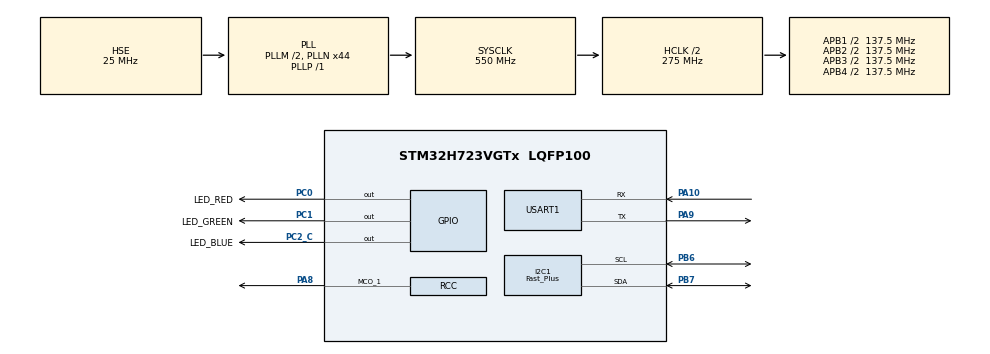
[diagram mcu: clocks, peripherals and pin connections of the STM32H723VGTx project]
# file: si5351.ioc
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I2C1.CustomTiming=Disabled
I2C1.I2C_Speed_Mode=I2C_Fast_Plus
I2C1.Speed=100
I2C1.Timing=0x600003BD
Mcu.Family=STM32H7
Mcu.Name=STM32H723VGTx
Mcu.Package=LQFP100
NVIC.PriorityGroup=NVIC_PRIORITYGROUP_4
PA10.Mode=Asynchronous
PA10.Signal=USART1_RX
PA8.Mode=Clock-out-1
PA8.Signal=RCC_MCO_1
PA9.Mode=Asynchronous
PA9.Signal=USART1_TX
PB6.Mode=I2C
PB6.Signal=I2C1_SCL
PB7.Mode=I2C
PB7.Signal=I2C1_SDA
PC0.GPIO_Label=LED_RED
PC0.Signal=GPIO_Output
PC1.GPIO_Label=LED_GREEN
PC1.Signal=GPIO_Output
PC14-OSC32_IN.Mode=LSE-External-Oscillator
PC14-OSC32_IN.Signal=RCC_OSC32_IN
PC15-OSC32_OUT.Mode=LSE-External-Oscillator
PC15-OSC32_OUT.Signal=RCC_OSC32_OUT
PC2_C.GPIO_Label=LED_BLUE
PC2_C.Signal=GPIO_Output
PH0-OSC_IN.Mode=HSE-External-Oscillator
PH0-OSC_IN.Signal=RCC_OSC_IN
PH1-OSC_OUT.Mode=HSE-External-Oscillator
PH1-OSC_OUT.Signal=RCC_OSC_OUT
ProjectManager.HeapSize=0x200
ProjectManager.StackSize=0x400
ProjectManager.TargetToolchain=Makefile
RCC.ADCFreq_Value=50390625
RCC.APB1Freq_Value=137500000
RCC.APB2Freq_Value=137500000
RCC.APB3Freq_Value=137500000
RCC.APB4Freq_Value=137500000
RCC.CortexFreq_Value=550000000
RCC.D1PPRE=RCC_APB3_DIV2
RCC.D2PPRE1=RCC_APB1_DIV2
RCC.D2PPRE2=RCC_APB2_DIV2
RCC.D3PPRE=RCC_APB4_DIV2
RCC.DIVM1=2
RCC.DIVN1=44
RCC.DIVP1=1
RCC.DIVQ1=10
RCC.EnbaleCSS=true
RCC.HCLKFreq_Value=275000000
RCC.HPRE=RCC_HCLK_DIV2
RCC.PLLFRACN=0
RCC.PLLSourceVirtual=RCC_PLLSOURCE_HSE
RCC.RCC_MCO1Source=RCC_MCO1SOURCE_PLL1QCLK
RCC.SYSCLKFreq_VALUE=550000000
RCC.SYSCLKSource=RCC_SYSCLKSOURCE_PLLCLK
RCC.USBFreq_Value=55000000
TIM1.Period=9999
TIM1.Prescaler=27499
USART1.VirtualMode-Asynchronous=VM_ASYNC
VP_TIM1_VS_ClockSourceINT.Mode=Internal
board=custom

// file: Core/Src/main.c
/* USER CODE BEGIN Header */
/**
 ******************************************************************************
 * @file           : main.c
 * @brief          : Main program body
 ******************************************************************************
 * @attention
 *
 * Copyright (c) 2023 STMicroelectronics.
 * All rights reserved.
 *
 * This software is licensed under terms that can be found in the LICENSE file
 * in the root directory of this software component.
 * If no LICENSE file comes with this software, it is provided AS-IS.
 *
 ******************************************************************************
 */
/* USER CODE END Header */
#include "main.h"
#include "i2c.h"
#include "tim.h"
#include "usart.h"
#include "gpio.h"

void SystemClock_Config(void);

/* USER CODE BEGIN 0 */
int _write(int file, char *ptr, int len)
{
  HAL_UART_Transmit(&huart1, (const uint8_t *)ptr, len, HAL_MAX_DELAY);

  return len;
}
/* USER CODE END 0 */

int main(void)
{

  /* MCU Configuration--------------------------------------------------------*/

  /* Reset of all peripherals, Initializes the Flash interface and the Systick. */
  HAL_Init();

  /* Configure the system clock */
  SystemClock_Config();

  /* Initialize all configured peripherals */
  MX_GPIO_Init();
  MX_I2C1_Init();
  MX_TIM1_Init();
  MX_USART1_UART_Init();
  /* USER CODE BEGIN 2 */

  printf("Hello.\n");

  Si5351_ConfigTypeDef Si5351_ConfigStruct;

  Si5351_StructInit(&Si5351_ConfigStruct, &hi2c1);
  Si5351_ConfigStruct.OSC.OSC_XTAL_Load = XTAL_Load_8_pF;

  Si5351_ConfigStruct.PLL[0].PLL_Clock_Source = PLL_Clock_Source_XTAL;
  Si5351_ConfigStruct.PLL[0].PLL_Multiplier_Integer = 32;

  Si5351_ConfigStruct.MS[0].MS_Clock_Source = MS_Clock_Source_PLLA;
  Si5351_ConfigStruct.MS[0].MS_Divider_Integer = 8;

  Si5351_ConfigStruct.CLK[0].CLK_R_Div = CLK_R_Div8;
  Si5351_ConfigStruct.CLK[0].CLK_Enable = ON;

  Si5351_ConfigStruct.PLL[1].PLL_Clock_Source = PLL_Clock_Source_XTAL;
  Si5351_ConfigStruct.PLL[1].PLL_Multiplier_Integer = 32;

  Si5351_ConfigStruct.MS[1].MS_Clock_Source = MS_Clock_Source_PLLA;
  Si5351_ConfigStruct.MS[1].MS_Divider_Integer = 8;

  Si5351_ConfigStruct.CLK[1].CLK_R_Div = CLK_R_Div8;
  Si5351_ConfigStruct.CLK[1].CLK_Enable = ON;

  Si5351_Init(&Si5351_ConfigStruct);
  /* USER CODE END 2 */

  /* Infinite loop */
  while (1)
  {

    /* USER CODE BEGIN 3 */
    HAL_GPIO_WritePin(LED_RED_GPIO_Port, LED_RED_Pin, 1);
    HAL_GPIO_WritePin(LED_GREEN_GPIO_Port, LED_GREEN_Pin, 0);
    HAL_GPIO_WritePin(LED_BLUE_GPIO_Port, LED_BLUE_Pin, 0);
    HAL_Delay(100);
  }
  /* USER CODE END 3 */
}

void SystemClock_Config(void)
{
  RCC_OscInitTypeDef RCC_OscInitStruct = {0};
  RCC_ClkInitTypeDef RCC_ClkInitStruct = {0};

  /** Supply configuration update enable
   */
  HAL_PWREx_ConfigSupply(PWR_LDO_SUPPLY);

  /** Configure the main internal regulator output voltage
   */
  __HAL_PWR_VOLTAGESCALING_CONFIG(PWR_REGULATOR_VOLTAGE_SCALE0);

  while (!__HAL_PWR_GET_FLAG(PWR_FLAG_VOSRDY))
  {
  }

  /** Initializes the RCC Oscillators according to the specified parameters
   * in the RCC_OscInitTypeDef structure.
   */
  RCC_OscInitStruct.OscillatorType = RCC_OSCILLATORTYPE_HSE;
  RCC_OscInitStruct.HSEState = RCC_HSE_ON;
  RCC_OscInitStruct.PLL.PLLState = RCC_PLL_ON;
  RCC_OscInitStruct.PLL.PLLSource = RCC_PLLSOURCE_HSE;
  RCC_OscInitStruct.PLL.PLLM = 2;
  RCC_OscInitStruct.PLL.PLLN = 44;
  RCC_OscInitStruct.PLL.PLLP = 1;
  RCC_OscInitStruct.PLL.PLLQ = 10;
  RCC_OscInitStruct.PLL.PLLR = 2;
  RCC_OscInitStruct.PLL.PLLRGE = RCC_PLL1VCIRANGE_3;
  RCC_OscInitStruct.PLL.PLLVCOSEL = RCC_PLL1VCOWIDE;
  RCC_OscInitStruct.PLL.PLLFRACN = 0;
  if (HAL_RCC_OscConfig(&RCC_OscInitStruct) != HAL_OK)
  {
    Error_Handler();
  }

  /** Initializes the CPU, AHB and APB buses clocks
   */
  RCC_ClkInitStruct.ClockType = RCC_CLOCKTYPE_HCLK | RCC_CLOCKTYPE_SYSCLK | RCC_CLOCKTYPE_PCLK1 | RCC_CLOCKTYPE_PCLK2 | RCC_CLOCKTYPE_D3PCLK1 | RCC_CLOCKTYPE_D1PCLK1;
  RCC_ClkInitStruct.SYSCLKSource = RCC_SYSCLKSOURCE_PLLCLK;
  RCC_ClkInitStruct.SYSCLKDivider = RCC_SYSCLK_DIV1;
  RCC_ClkInitStruct.AHBCLKDivider = RCC_HCLK_DIV2;
  RCC_ClkInitStruct.APB3CLKDivider = RCC_APB3_DIV2;
  RCC_ClkInitStruct.APB1CLKDivider = RCC_APB1_DIV2;
  RCC_ClkInitStruct.APB2CLKDivider = RCC_APB2_DIV2;
  RCC_ClkInitStruct.APB4CLKDivider = RCC_APB4_DIV2;

  if (HAL_RCC_ClockConfig(&RCC_ClkInitStruct, FLASH_LATENCY_3) != HAL_OK)
  {
    Error_Handler();
  }
  HAL_RCC_MCOConfig(RCC_MCO1, RCC_MCO1SOURCE_PLL1QCLK, RCC_MCODIV_1);

  /** Enables the Clock Security System
   */
  HAL_RCC_EnableCSS();
}

void Error_Handler(void)
{
  __disable_irq();
  while (1)
  {
  }
}
